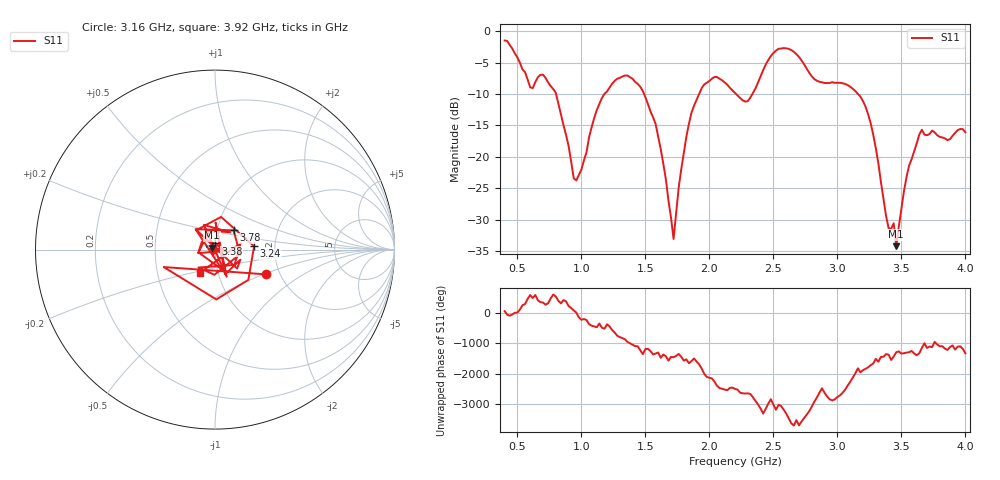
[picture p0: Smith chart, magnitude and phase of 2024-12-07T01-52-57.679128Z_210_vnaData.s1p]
!Created with skrf (http://scikit-rf.org).
# Hz S RI R 50.0
!freq ReS11 ImS11
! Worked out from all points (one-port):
!   181 points, 400 MHz to 4 GHz, reference 50 ohm
!   lowest |S11| = -34.2 dB at 3.46 GHz (marker M1), VSWR 1.04, Z = 48.3 + j0.971 ohm
!   |S11| at or under -10 dB: 802.3 MHz to 1.179 GHz (376.9 MHz wide, 38 % of centre); 1.49 GHz to 1.919 GHz (429 MHz wide, 25.2 % of centre); 3.161 GHz to end of sweep (the widest 3 of 4)
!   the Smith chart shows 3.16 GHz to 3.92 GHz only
!   S11 on the Smith chart (normalised r, x): 3.16 GHz: 1.70, -0.52; 3.24 GHz: 1.56, +0.06; 3.38 GHz: 1.00, +0.07; 3.78 GHz: 1.20, +0.26; 3.92 GHz: 0.82, -0.22
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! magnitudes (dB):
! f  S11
! 400 MHz  -1.5
! 600 MHz  -8.9
! 720 MHz  -7.4
! 860 MHz  -14.9
! 960 MHz  -23.7
! 1.14 GHz  -11.6
! 1.3 GHz  -7.4
! 1.46 GHz  -8.8
! 1.58 GHz  -14.8
! 1.72 GHz  -33.1
! 1.76 GHz  -24.9
! 1.86 GHz  -13.0
! 1.94 GHz  -9.0
! 2.2 GHz  -9.8
! 2.3 GHz  -11.1
! 2.5 GHz  -3.5
! 2.66 GHz  -3.3
! 3.1 GHz  -8.8
! 3.16 GHz  -10.0
! 3.24 GHz  -13.2
! 3.38 GHz  -29.3
! 3.44 GHz  -30.6
! 3.46 GHz  -34.2
! 3.56 GHz  -21.4
! 3.66 GHz  -15.7
! 3.78 GHz  -16.6
! 3.92 GHz  -16.2
! 4 GHz  -16.1
